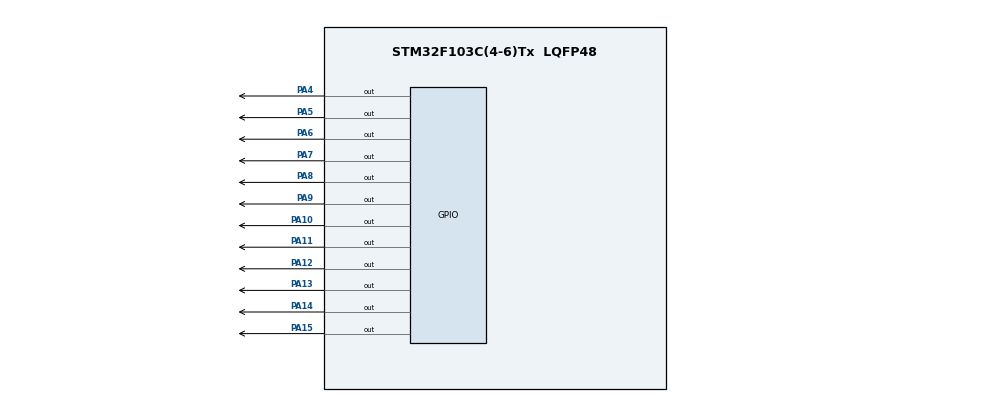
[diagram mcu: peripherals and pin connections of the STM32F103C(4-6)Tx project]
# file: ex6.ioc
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Mcu.Family=STM32F1
Mcu.Name=STM32F103C(4-6)Tx
Mcu.Package=LQFP48
NVIC.PriorityGroup=NVIC_PRIORITYGROUP_4
PA10.Signal=GPIO_Output
PA11.Signal=GPIO_Output
PA12.Signal=GPIO_Output
PA13.Signal=GPIO_Output
PA14.Signal=GPIO_Output
PA15.Signal=GPIO_Output
PA4.Signal=GPIO_Output
PA5.Signal=GPIO_Output
PA6.Signal=GPIO_Output
PA7.Signal=GPIO_Output
PA8.Signal=GPIO_Output
PA9.Signal=GPIO_Output
ProjectManager.HeapSize=0x200
ProjectManager.StackSize=0x400
ProjectManager.TargetToolchain=STM32CubeIDE
RCC.APB1Freq_Value=8000000
RCC.APB2Freq_Value=8000000
VP_SYS_VS_ND.Mode=No_Debug
board=custom

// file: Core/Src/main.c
/* USER CODE BEGIN Header */
/**
  ******************************************************************************
  * @file           : main.c
  * @brief          : Main program body
  ******************************************************************************
  * @attention
  *
  * <h2><center>&copy; Copyright (c) 2021 STMicroelectronics.
  * All rights reserved.</center></h2>
  *
  * This software component is licensed by ST under BSD 3-Clause license,
  * the "License"; You may not use this file except in compliance with the
  * License. You may obtain a copy of the License at:
  *                        opensource.org/licenses/BSD-3-Clause
  *
  ******************************************************************************
  */
/* USER CODE END Header */
#include "main.h"

void SystemClock_Config(void);
static void MX_GPIO_Init(void);

int main(void)
{

  /* MCU Configuration--------------------------------------------------------*/

  /* Reset of all peripherals, Initializes the Flash interface and the Systick. */
  HAL_Init();

  /* Configure the system clock */
  SystemClock_Config();

  /* Initialize all configured peripherals */
  MX_GPIO_Init();

  /* Infinite loop */
  /* USER CODE BEGIN WHILE */
  void clearAllClock(){
  	  HAL_GPIO_WritePin(GPIOA, GPIO_PIN_4|GPIO_PIN_5| GPIO_PIN_6|
  			  GPIO_PIN_7| GPIO_PIN_8|GPIO_PIN_9| GPIO_PIN_10|GPIO_PIN_11|
  			  GPIO_PIN_12|GPIO_PIN_13| GPIO_PIN_14|GPIO_PIN_15, 0);
   }

  void setNumberOnClock(int num){
  	  switch(num){
  	  case 0: HAL_GPIO_WritePin(GPIOA, GPIO_PIN_4, 1);
  	  	  break;
  	  case 1: HAL_GPIO_WritePin(GPIOA, GPIO_PIN_5, 1);
  	  	  break;
  	  case 2: HAL_GPIO_WritePin(GPIOA, GPIO_PIN_6, 1);
  	  	  break;
  	  case 3: HAL_GPIO_WritePin(GPIOA, GPIO_PIN_7, 1);
  	  	  break;
  	  case 4: HAL_GPIO_WritePin(GPIOA, GPIO_PIN_8, 1);
  	  	  break;
  	  case 5: HAL_GPIO_WritePin(GPIOA, GPIO_PIN_9, 1);
  	  	  break;
  	  case 6: HAL_GPIO_WritePin(GPIOA, GPIO_PIN_10, 1);
  	  	  break;
  	  case 7: HAL_GPIO_WritePin(GPIOA, GPIO_PIN_11, 1);
  	  	  break;
  	  case 8: HAL_GPIO_WritePin(GPIOA, GPIO_PIN_12, 1);
  	  	  break;
  	  case 9: HAL_GPIO_WritePin(GPIOA, GPIO_PIN_13, 1);
  	  	  break;
  	  case 10: HAL_GPIO_WritePin(GPIOA, GPIO_PIN_14, 1);
  	  	  break;
  	  case 11: HAL_GPIO_WritePin(GPIOA, GPIO_PIN_15, 1);
  	  	  break;

  	  }

    }

  void clearNumberOnClock(int num){
  	  switch(num){
  	  	  case 0: HAL_GPIO_WritePin(GPIOA, GPIO_PIN_4, 0);
  	  	  	  break;
  	  	  case 1: HAL_GPIO_WritePin(GPIOA, GPIO_PIN_5, 0);
  	  	  	  break;
  	  	  case 2: HAL_GPIO_WritePin(GPIOA, GPIO_PIN_6, 0);
  	  	  	  break;
  	  	  case 3: HAL_GPIO_WritePin(GPIOA, GPIO_PIN_7, 0);
  	  	  	  break;
  	  	  case 4: HAL_GPIO_WritePin(GPIOA, GPIO_PIN_8, 0);
  	  	  	  break;
  	  	  case 5: HAL_GPIO_WritePin(GPIOA, GPIO_PIN_9, 0);
  	  	  	  break;
  	  	  case 6: HAL_GPIO_WritePin(GPIOA, GPIO_PIN_10, 0);
  	  	  	  break;
  	  	  case 7: HAL_GPIO_WritePin(GPIOA, GPIO_PIN_11, 0);
  	  	  	  break;
  	  	  case 8: HAL_GPIO_WritePin(GPIOA, GPIO_PIN_12, 0);
  	  	  	  break;
  	  	  case 9: HAL_GPIO_WritePin(GPIOA, GPIO_PIN_13, 0);
  	  	  	  break;
  	  	  case 10: HAL_GPIO_WritePin(GPIOA, GPIO_PIN_14, 0);
  	  	  	  break;
  	  	  case 11: HAL_GPIO_WritePin(GPIOA, GPIO_PIN_15, 0);
  	  	  	  break;

  	  	  }
    }

  int h = 0; // hour
  int m = 0; // minute
  int s = 0; // second

   while (1)
   {
    /* USER CODE END WHILE */
	   clearAllClock();
	   setNumberOnClock(h % 12);
	   setNumberOnClock(m % 12);
	   setNumberOnClock(s % 12);

	   if(s >= 60 ) {
		   s = 0;
		   m = m+1;
	   }

	   if(m >= 60 ) {
		   m = 0;
		   h = h+1;
	   }

	   if(h >= 24 ) {
		   h = 0;
	   }
	   s ++;

	   HAL_Delay(1000);

    /* USER CODE BEGIN 3 */
   }

}

void SystemClock_Config(void)
{
  RCC_OscInitTypeDef RCC_OscInitStruct = {0};
  RCC_ClkInitTypeDef RCC_ClkInitStruct = {0};

  /** Initializes the RCC Oscillators according to the specified parameters
  * in the RCC_OscInitTypeDef structure.
  */
  RCC_OscInitStruct.OscillatorType = RCC_OSCILLATORTYPE_HSI;
  RCC_OscInitStruct.HSIState = RCC_HSI_ON;
  RCC_OscInitStruct.HSICalibrationValue = RCC_HSICALIBRATION_DEFAULT;
  RCC_OscInitStruct.PLL.PLLState = RCC_PLL_NONE;
  if (HAL_RCC_OscConfig(&RCC_OscInitStruct) != HAL_OK)
  {
    Error_Handler();
  }
  /** Initializes the CPU, AHB and APB buses clocks
  */
  RCC_ClkInitStruct.ClockType = RCC_CLOCKTYPE_HCLK|RCC_CLOCKTYPE_SYSCLK
                              |RCC_CLOCKTYPE_PCLK1|RCC_CLOCKTYPE_PCLK2;
  RCC_ClkInitStruct.SYSCLKSource = RCC_SYSCLKSOURCE_HSI;
  RCC_ClkInitStruct.AHBCLKDivider = RCC_SYSCLK_DIV1;
  RCC_ClkInitStruct.APB1CLKDivider = RCC_HCLK_DIV1;
  RCC_ClkInitStruct.APB2CLKDivider = RCC_HCLK_DIV1;

  if (HAL_RCC_ClockConfig(&RCC_ClkInitStruct, FLASH_LATENCY_0) != HAL_OK)
  {
    Error_Handler();
  }
}

static void MX_GPIO_Init(void)
{
  GPIO_InitTypeDef GPIO_InitStruct = {0};

  /* GPIO Ports Clock Enable */
  __HAL_RCC_GPIOA_CLK_ENABLE();

  /*Configure GPIO pin Output Level */
  HAL_GPIO_WritePin(GPIOA, GPIO_PIN_4|GPIO_PIN_5|GPIO_PIN_6|GPIO_PIN_7
                          |GPIO_PIN_8|GPIO_PIN_9|GPIO_PIN_10|GPIO_PIN_11
                          |GPIO_PIN_12|GPIO_PIN_13|GPIO_PIN_14|GPIO_PIN_15, GPIO_PIN_RESET);

  /*Configure GPIO pins : PA4 PA5 PA6 PA7
                           PA8 PA9 PA10 PA11
                           PA12 PA13 PA14 PA15 */
  GPIO_InitStruct.Pin = GPIO_PIN_4|GPIO_PIN_5|GPIO_PIN_6|GPIO_PIN_7
                          |GPIO_PIN_8|GPIO_PIN_9|GPIO_PIN_10|GPIO_PIN_11
                          |GPIO_PIN_12|GPIO_PIN_13|GPIO_PIN_14|GPIO_PIN_15;
  GPIO_InitStruct.Mode = GPIO_MODE_OUTPUT_PP;
  GPIO_InitStruct.Pull = GPIO_NOPULL;
  GPIO_InitStruct.Speed = GPIO_SPEED_FREQ_LOW;
  HAL_GPIO_Init(GPIOA, &GPIO_InitStruct);

}

void Error_Handler(void)
{
  __disable_irq();
  while (1)
  {
  }
}

/************************ (C) COPYRIGHT STMicroelectronics *****END OF FILE****/
